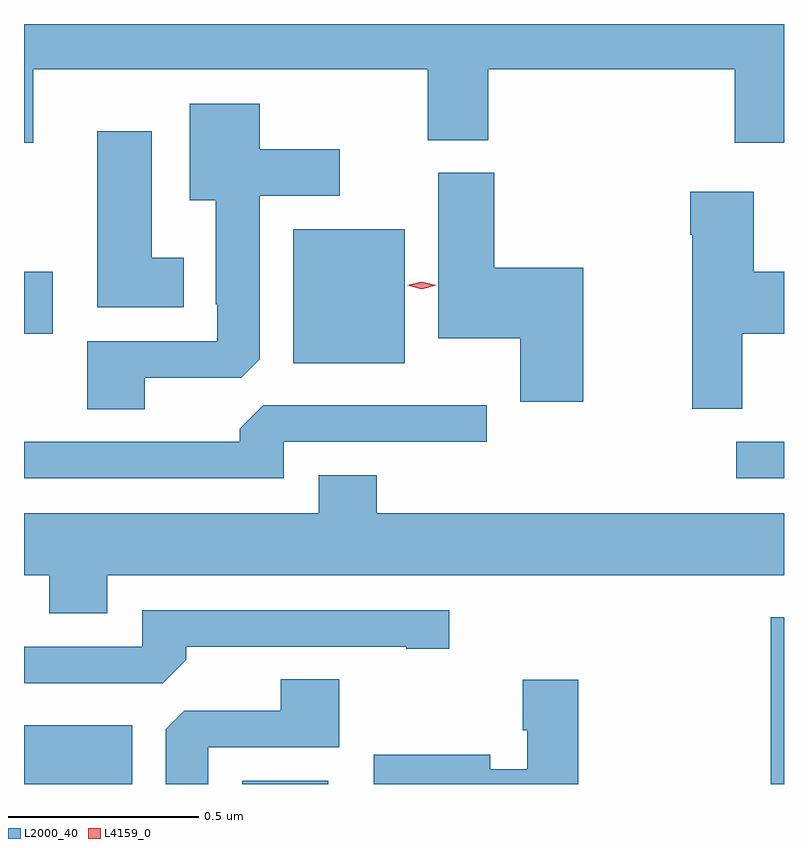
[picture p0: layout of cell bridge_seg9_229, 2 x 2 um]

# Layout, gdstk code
import gdstk
lib = gdstk.Library(unit=1e-6, precision=1e-09)
def R(c, l, rs):  # rectangles x0, y0, x1, y1
    for r in rs: c.add(gdstk.rectangle(r[:2], r[2:], *l))
def P(c, l, *ps):  # polygons
    for p in ps: c.add(gdstk.Polygon(p, *l))
L2000_40 = (2000, 40)
L4159_0 = (4159, 0)

bridge_seg9_229 = lib.new_cell('bridge_seg9_229')
R(bridge_seg9_229, L2000_40, [(144.502,1218.515,144.787,1218.67), (145.076,1218.515,145.303,1218.523), (146.467,1218.515,146.502,1218.954), (146.376,1219.32,146.502,1219.416), (145.211,1219.622,145.504,1219.975), (144.502,1219.7,144.577,1219.863)])
P(bridge_seg9_229, L2000_40, [(145.564,1220.209),(145.724,1220.209),(145.724,1220.396),(146.372,1220.396),(146.372,1220.202),(146.502,1220.202),(146.502,1220.515),(144.502,1220.515),(144.502,1220.202),(144.526,1220.202),(144.526,1220.396),(145.564,1220.396)],
  [(144.82,1219.584),(145.074,1219.584),(145.123,1219.633),(145.123,1220.063),(145.333,1220.063),(145.333,1220.185),(145.123,1220.185),(145.123,1220.305),(144.938,1220.305),(144.938,1220.051),(145.007,1220.051),(145.007,1219.777),(145.011,1219.777),(145.011,1219.68),(144.668,1219.68),(144.668,1219.501),(144.82,1219.501)],
  [(144.922,1219.9),(144.838,1219.9),(144.838,1220.233),(144.695,1220.233),(144.695,1219.769),(144.922,1219.769)],
  [(145.974,1219.873),(145.739,1219.873),(145.739,1220.124),(145.592,1220.124),(145.592,1219.688),(145.808,1219.688),(145.808,1219.521),(145.974,1219.521)],
  [(146.392,1219.7),(146.502,1219.7),(146.502,1219.863),(146.422,1219.863),(146.422,1220.074),(146.255,1220.074),(146.255,1219.961),(146.26,1219.961),(146.26,1219.503),(146.392,1219.503)],
  [(145.185,1219.416),(145.72,1219.416),(145.72,1219.512),(145.131,1219.512),(145.07,1219.45),(145.07,1219.416),(144.502,1219.416),(144.502,1219.32),(145.185,1219.32)],
  [(144.721,1219.064),(146.502,1219.064),(146.502,1219.228),(145.43,1219.228),(145.43,1219.327),(145.277,1219.327),(145.277,1219.228),(144.502,1219.228),(144.502,1219.064),(144.569,1219.064),(144.569,1218.965),(144.721,1218.965)],
  [(144.929,1218.842),(144.929,1218.876),(145.508,1218.876),(145.508,1218.871),(145.621,1218.871),(145.621,1218.972),(144.813,1218.972),(144.813,1218.876),(144.502,1218.876),(144.502,1218.78),(144.867,1218.78)],
  [(144.987,1218.612),(145.331,1218.612),(145.331,1218.791),(145.178,1218.791),(145.178,1218.708),(144.924,1218.708),(144.875,1218.659),(144.875,1218.515),(144.987,1218.515)],
  [(145.961,1218.79),(145.814,1218.79),(145.814,1218.657),(145.826,1218.657),(145.826,1218.554),(145.729,1218.554),(145.729,1218.592),(145.422,1218.592),(145.422,1218.515),(145.961,1218.515)])
P(bridge_seg9_229, L4159_0, [(145.549,1219.817),(145.511,1219.827),(145.511,1219.827),(145.511,1219.827),(145.549,1219.837),(145.587,1219.827),(145.587,1219.827),(145.587,1219.827)])

lib.write_gds('bridge_seg9_229.gds')
